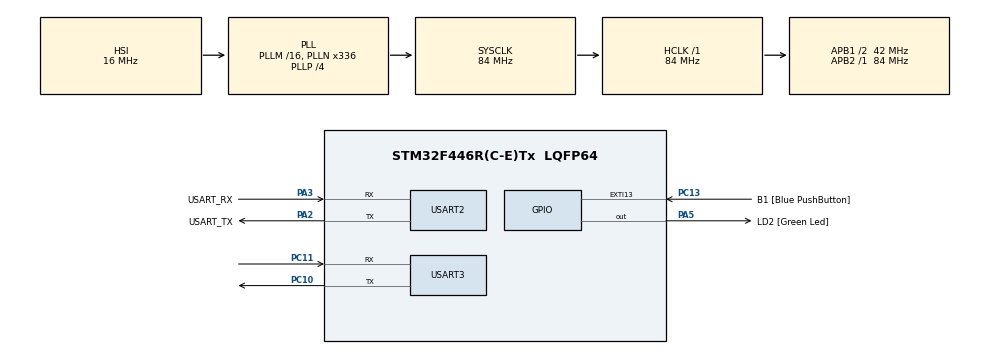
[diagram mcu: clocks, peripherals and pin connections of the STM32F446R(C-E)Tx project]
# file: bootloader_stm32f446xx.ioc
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Mcu.Family=STM32F4
Mcu.Name=STM32F446R(C-E)Tx
Mcu.Package=LQFP64
NVIC.PriorityGroup=NVIC_PRIORITYGROUP_0
PA13.GPIO_Label=TMS
PA13.Signal=SYS_JTMS-SWDIO
PA14.GPIO_Label=TCK
PA14.Signal=SYS_JTCK-SWCLK
PA2.GPIO_Label=USART_TX
PA2.Mode=Asynchronous
PA2.Signal=USART2_TX
PA3.GPIO_Label=USART_RX
PA3.Mode=Asynchronous
PA3.Signal=USART2_RX
PA5.GPIO_Label=LD2 [Green Led]
PA5.Signal=GPIO_Output
PB3.GPIO_Label=SWO
PB3.Signal=SYS_JTDO-SWO
PC10.Mode=Asynchronous
PC10.Signal=USART3_TX
PC11.Mode=Asynchronous
PC11.Signal=USART3_RX
PC13.GPIO_Label=B1 [Blue PushButton]
PC13.GPIO_ModeDefaultEXTI=GPIO_MODE_IT_FALLING
PC13.Signal=GPXTI13
PC14-OSC32_IN.Signal=RCC_OSC32_IN
PC15-OSC32_OUT.Signal=RCC_OSC32_OUT
PH0-OSC_IN.Signal=RCC_OSC_IN
PH1-OSC_OUT.Signal=RCC_OSC_OUT
ProjectManager.HeapSize=0x200
ProjectManager.StackSize=0x400
ProjectManager.TargetToolchain=STM32CubeIDE
RCC.AHBFreq_Value=84000000
RCC.APB1CLKDivider=RCC_HCLK_DIV2
RCC.APB1Freq_Value=42000000
RCC.APB1TimFreq_Value=84000000
RCC.APB2Freq_Value=84000000
RCC.APB2TimFreq_Value=84000000
RCC.CortexFreq_Value=84000000
RCC.FLatency-AdvancedSettings=FLASH_LATENCY_2
RCC.HCLKFreq_Value=84000000
RCC.HSE_VALUE=8000000
RCC.HSI_VALUE=16000000
RCC.LSE_VALUE=32768
RCC.PLLN=336
RCC.PLLP=RCC_PLLP_DIV4
RCC.SYSCLKFreq_VALUE=84000000
RCC.SYSCLKSource=RCC_SYSCLKSOURCE_PLLCLK
RCC.USBFreq_Value=168000000
RCC.VCOOutputFreq_Value=336000000
USART2.VirtualMode=VM_ASYNC
USART3.VirtualMode=VM_ASYNC
VP_CRC_VS_CRC.Mode=CRC_Activate
board=NUCLEO-F446RE

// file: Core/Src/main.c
/* USER CODE BEGIN Header */
/**
  ******************************************************************************
  * @file           : main.c
  * @brief          : Main program body
  ******************************************************************************
  * @attention
  *
  * Copyright (c) 2024 STMicroelectronics.
  * All rights reserved.
  *
  * This software is licensed under terms that can be found in the LICENSE file
  * in the root directory of this software component.
  * If no LICENSE file comes with this software, it is provided AS-IS.
  *
  ******************************************************************************
  */
/* USER CODE END Header */
#include "main.h"

/* USER CODE BEGIN Includes */
#include <stdarg.h>
#include <string.h>
#include <stdio.h>
/* USER CODE END Includes */

/* USER CODE BEGIN PD */
#define D_UART     &huart3
#define C_UART     &huart2
#define BL_RX_LEN  200
/* USER CODE END PD */

/* USER CODE BEGIN PM */

// enable it to get debug messages over debug uart
#define BL_DEBUG_MSG_EN

/* USER CODE END PM */

CRC_HandleTypeDef hcrc;

UART_HandleTypeDef huart2;
UART_HandleTypeDef huart3;

/* USER CODE BEGIN PV */

char somedata[] = "Hello from Bootloader\r\n";
uint8_t bl_rx_buffer[BL_RX_LEN];

uint8_t supported_commands[] = {BL_GET_VER,
	                            BL_GET_HELP,
								BL_GET_CID,
								BL_GET_RDP_STATUS,
								BL_GO_TO_ADDR,
								BL_FLASH_ERASE,
								BL_MEM_WRITE,
								BL_EN_RW_PROTECT,
								BL_MEM_READ,
								BL_READ_SECTOR_P_STATUS,
                                BL_OTP_READ};

/* USER CODE END PV */

void SystemClock_Config(void);
static void MX_GPIO_Init(void);
static void MX_CRC_Init(void);
static void MX_USART2_UART_Init(void);
static void MX_USART3_UART_Init(void);
/* USER CODE BEGIN PFP */

static void printmsg(char* format, ...);

/* USER CODE END PFP */

int main(void)
{

  /* MCU Configuration--------------------------------------------------------*/

  /* Reset of all peripherals, Initializes the Flash interface and the Systick. */
  HAL_Init();

  /* Configure the system clock */
  SystemClock_Config();

  /* Initialize all configured peripherals */
  MX_GPIO_Init();
  MX_CRC_Init();
  MX_USART2_UART_Init();
  MX_USART3_UART_Init();
  /* USER CODE BEGIN 2 */

	if (HAL_GPIO_ReadPin(B1_GPIO_Port, B1_Pin) == GPIO_PIN_RESET)
	{
	  printmsg("BL_DEBUG_MSG:Button is pressed.. going to BL mode\n\r");

	  // continue in bootloader mode
	  bootloader_uart_read_data();
	}
	else
	{
	  printmsg("BL_DEBUG_MSG: Button is not pressed.. executing User application \n\r");
	  bootloader_jump_to_user_app();
	}

  /* USER CODE END 2 */

  /* Infinite loop */
  /* USER CODE BEGIN WHILE */
//  while (1)
//  {
    /* USER CODE END WHILE */

//	HAL_UART_Transmit(&huart2, (uint8_t*)somedata, sizeof(somedata), HAL_MAX_DELAY);
//	HAL_UART_Transmit(&huart3, (uint8_t*)somedata, sizeof(somedata), HAL_MAX_DELAY);

//	uint32_t current_tick = HAL_GetTick();
//	printmsg("current_tick = %d\r\n", current_tick);
//	while (HAL_GetTick() <= (current_tick+500));

    /* USER CODE BEGIN 3 */
//  }
  /* USER CODE END 3 */
}

void SystemClock_Config(void)
{
  RCC_OscInitTypeDef RCC_OscInitStruct = {0};
  RCC_ClkInitTypeDef RCC_ClkInitStruct = {0};

  /** Configure the main internal regulator output voltage
  */
  __HAL_RCC_PWR_CLK_ENABLE();
  __HAL_PWR_VOLTAGESCALING_CONFIG(PWR_REGULATOR_VOLTAGE_SCALE3);

  /** Initializes the RCC Oscillators according to the specified parameters
  * in the RCC_OscInitTypeDef structure.
  */
  RCC_OscInitStruct.OscillatorType = RCC_OSCILLATORTYPE_HSI;
  RCC_OscInitStruct.HSIState = RCC_HSI_ON;
  RCC_OscInitStruct.HSICalibrationValue = RCC_HSICALIBRATION_DEFAULT;
  RCC_OscInitStruct.PLL.PLLState = RCC_PLL_ON;
  RCC_OscInitStruct.PLL.PLLSource = RCC_PLLSOURCE_HSI;
  RCC_OscInitStruct.PLL.PLLM = 16;
  RCC_OscInitStruct.PLL.PLLN = 336;
  RCC_OscInitStruct.PLL.PLLP = RCC_PLLP_DIV4;
  RCC_OscInitStruct.PLL.PLLQ = 2;
  RCC_OscInitStruct.PLL.PLLR = 2;
  if (HAL_RCC_OscConfig(&RCC_OscInitStruct) != HAL_OK)
  {
    Error_Handler();
  }

  /** Initializes the CPU, AHB and APB buses clocks
  */
  RCC_ClkInitStruct.ClockType = RCC_CLOCKTYPE_HCLK|RCC_CLOCKTYPE_SYSCLK
                              |RCC_CLOCKTYPE_PCLK1|RCC_CLOCKTYPE_PCLK2;
  RCC_ClkInitStruct.SYSCLKSource = RCC_SYSCLKSOURCE_PLLCLK;
  RCC_ClkInitStruct.AHBCLKDivider = RCC_SYSCLK_DIV1;
  RCC_ClkInitStruct.APB1CLKDivider = RCC_HCLK_DIV2;
  RCC_ClkInitStruct.APB2CLKDivider = RCC_HCLK_DIV1;

  if (HAL_RCC_ClockConfig(&RCC_ClkInitStruct, FLASH_LATENCY_2) != HAL_OK)
  {
    Error_Handler();
  }
}

static void MX_CRC_Init(void)
{

  hcrc.Instance = CRC;

  /*****************************************************/
  /* [!NOTE] *******************************************/
  /*****************************************************/
  /* crc module of F0 supports multiple data format */
  /* while F4 which is used in this course has only one */
  /* input data format (32bit). Uncomment following settings */
  /* For STM32F0                                               */

//  hcrc.Init.DefaultPolynomialUse = DEFAULT_POLYNOMIAL_ENABLE;
//  hcrc.Init.DefaultInitValueUse = DEFAULT_INIT_VALUE_ENABLE;
//  hcrc.Init.InputDataInversionMode = CRC_INPUTDATA_INVERSION_NONE;
//  hcrc.Init.OutputDataInversionMode = CRC_OUTPUTDATA_INVERSION_DISABLE;
//  hcrc.InputDataFormat = CRC_INPUTDATA_FORMAT_WORDS;

  if (HAL_CRC_Init(&hcrc) != HAL_OK)
  {
    Error_Handler();
  }

}

static void MX_USART2_UART_Init(void)
{

  huart2.Instance = USART2;
  huart2.Init.BaudRate = 115200;
  huart2.Init.WordLength = UART_WORDLENGTH_8B;
  huart2.Init.StopBits = UART_STOPBITS_1;
  huart2.Init.Parity = UART_PARITY_NONE;
  huart2.Init.Mode = UART_MODE_TX_RX;
  huart2.Init.HwFlowCtl = UART_HWCONTROL_NONE;
  huart2.Init.OverSampling = UART_OVERSAMPLING_16;
  if (HAL_UART_Init(&huart2) != HAL_OK)
  {
    Error_Handler();
  }

}

static void MX_USART3_UART_Init(void)
{

  huart3.Instance = USART3;
  huart3.Init.BaudRate = 115200;
  huart3.Init.WordLength = UART_WORDLENGTH_8B;
  huart3.Init.StopBits = UART_STOPBITS_1;
  huart3.Init.Parity = UART_PARITY_NONE;
  huart3.Init.Mode = UART_MODE_TX_RX;
  huart3.Init.HwFlowCtl = UART_HWCONTROL_NONE;
  huart3.Init.OverSampling = UART_OVERSAMPLING_16;
  if (HAL_UART_Init(&huart3) != HAL_OK)
  {
    Error_Handler();
  }

}

static void MX_GPIO_Init(void)
{
  GPIO_InitTypeDef GPIO_InitStruct = {0};

  /* GPIO Ports Clock Enable */
  __HAL_RCC_GPIOC_CLK_ENABLE();
  __HAL_RCC_GPIOH_CLK_ENABLE();
  __HAL_RCC_GPIOA_CLK_ENABLE();
  __HAL_RCC_GPIOB_CLK_ENABLE();

  /*Configure GPIO pin Output Level */
  HAL_GPIO_WritePin(LD2_GPIO_Port, LD2_Pin, GPIO_PIN_RESET);

  /*Configure GPIO pin : B1_Pin */
  GPIO_InitStruct.Pin = B1_Pin;
  GPIO_InitStruct.Mode = GPIO_MODE_IT_FALLING;
  GPIO_InitStruct.Pull = GPIO_NOPULL;
  HAL_GPIO_Init(B1_GPIO_Port, &GPIO_InitStruct);

  /*Configure GPIO pin : LD2_Pin */
  GPIO_InitStruct.Pin = LD2_Pin;
  GPIO_InitStruct.Mode = GPIO_MODE_OUTPUT_PP;
  GPIO_InitStruct.Pull = GPIO_NOPULL;
  GPIO_InitStruct.Speed = GPIO_SPEED_FREQ_LOW;
  HAL_GPIO_Init(LD2_GPIO_Port, &GPIO_InitStruct);

}

/* USER CODE BEGIN 4 */

void bootloader_uart_read_data(void)
{
  uint8_t rcv_len = 0;

  while (1)
  {
	memset(bl_rx_buffer, 0, 200);

	// here we will read and decode the commands coming from Host
	//
	// first read only one byte from the host, which is the "length"
	// field of the command packet
	HAL_UART_Receive(C_UART, bl_rx_buffer, 1, HAL_MAX_DELAY);
	rcv_len = bl_rx_buffer[0];
	HAL_UART_Receive(C_UART, &bl_rx_buffer[1], rcv_len, HAL_MAX_DELAY);

	switch (bl_rx_buffer[1])
	{
	case BL_GET_VER:
	  bootloader_handle_getver_cmd(bl_rx_buffer);
	  break;
	case BL_GET_HELP:
	  bootloader_handle_gethelp_cmd(bl_rx_buffer);
	  break;
	case BL_GET_CID:
	  bootloader_handle_getcid_cmd(bl_rx_buffer);
	  break;
	case BL_GET_RDP_STATUS:
	  bootloader_handle_getrdp_cmd(bl_rx_buffer);
	  break;
	case BL_GO_TO_ADDR:
	  bootloader_handle_gotoaddr_cmd(bl_rx_buffer);
	  break;
	case BL_FLASH_ERASE:
	  bootloader_handle_flash_erase_cmd(bl_rx_buffer);
	  break;
	case BL_MEM_WRITE:
	  bootloader_handle_memwrite_cmd(bl_rx_buffer);
	  break;
	case BL_EN_RW_PROTECT:
	  bootloader_handle_endis_rw_protect(bl_rx_buffer);
	  break;
	case BL_MEM_READ:
	  bootloader_handle_mem_read(bl_rx_buffer);
	  break;
	case BL_READ_SECTOR_P_STATUS:
	  bootloader_handle_read_sector_status(bl_rx_buffer);
	  break;
	case BL_OTP_READ:
	  bootloader_handle_read_otp(bl_rx_buffer);
	  break;
	default:
	  printmsg("BL_DEBUG_MSG: Invalid command code received from host\n");
	  break;
	}
  }
}

/**
 * Jump to User application, Here we are assuming
 * FLASH_SECTOR2_BASE_ADDRESS is where the User
 * application stored.
 */
void bootloader_jump_to_user_app(void)
{
  // function pointer to hold the address of Reset Handler of User app.
  void (*app_reset_handler)(void);

  printmsg("BL_DEBUG_MSG: bootloader_jump_to_user_app\n");

  //1. configure the MSP by reading the value from the base address of Sector 2
  //
  //   In normal working, After MCU RESET, PC is loaded with 0x0000_0000 and ARM
  //   Cortex Mx processor take the value from 0x0000_0000 and put it into MSP
  //   0x0000_0000 is also aliased to 0x0800_0000 (And this contain vector table)
  uint32_t msp_value = *(volatile uint32_t*)FLASH_SECTOR2_BASE_ADDRESS;
  printmsg("BL_DEBUG_MSG: MSP value: %#x\n", msp_value);

  // CMSIS function
  __set_MSP(msp_value);

//  SCB->VTOR = FLASH_SECTOR1_BASE_ADDRESS;

  //2. Now fetch the reset handler address of the User application
  //   from the location FLASH_SECTOR2_BASE_ADDRESS+4
  //
  //   In normal working, address 0x0000_0000 in PC contain `value` which is stuffed into
  //   MSP by the processor and then instruction 0x0000_0000+4 loaded into PC and its `value`
  //   contain Reset Handler (i.e. address of Reset Handler)
  uint32_t resethandler_address = *(volatile uint32_t*)(FLASH_SECTOR2_BASE_ADDRESS + 4);
  app_reset_handler = (void*)resethandler_address;

  printmsg("BL_DEBUG_MSG: app reset handler address: %#x\n", app_reset_handler);

  //3. jump to reset handler of the user application
  app_reset_handler();
}

// prints formatted string to console over UART
void printmsg(char* format, ...)
{
#ifdef BL_DEBUG_MSG_EN

  char str[80];

  // extract the argument list using VA apis
  va_list args;
  va_start(args, format);
  vsprintf(str, format, args);
  HAL_UART_Transmit(D_UART, (uint8_t*)str, strlen(str), HAL_MAX_DELAY);
  va_end(args);

#endif
}

void bootloader_handle_getver_cmd(uint8_t* bl_rx_buffer)
{
  uint8_t bl_version;

  //1. verify the checksum
  printmsg("BL_DEBUG_MSG: bootloader_handle_getver_cmd\n");

  // total length of the command packet
  uint32_t command_packet_len = bl_rx_buffer[0]+1;

  // extract the CRC32 send by the Host
  uint32_t host_crc = *((uint32_t*)(bl_rx_buffer + command_packet_len-4));

  if (!bootloader_verify_crc(&bl_rx_buffer[0], command_packet_len-4, host_crc))
  {
	printmsg("BL_DEBUG_MSG: checksum success !!\n");

	// checksum is correct (send ACK)
	bootloader_send_ack(bl_rx_buffer[0], 1);
	bl_version = get_bootloader_version();
	printmsg("BL_DEBUG_MSG: BL_VER: %d %x#x\n", bl_version, bl_version);
	bootloader_uart_write_data(&bl_version, 1);
  }
  else
  {
	printmsg("BL_DEBUG_MSG: checksum fail !!\n");
	// checksum is wrong (send NACK)
	bootloader_send_nack();
  }
}

void bootloader_handle_gethelp_cmd(uint8_t* bl_rx_buffer)
{
  printmsg("BL_DEBUG_MSG: bootloader_handle_gethelp_cmd\n");

  // total length of the command packet
  uint32_t command_packet_len = bl_rx_buffer[0]+1;

  // extract the CRC32 sent by the Host
  uint32_t host_crc = *((uint32_t*)(bl_rx_buffer+command_packet_len - 4));

  if (!bootloader_verify_crc(&bl_rx_buffer[0], command_packet_len-4, host_crc))
  {
	printmsg("BL_DEBUG_MSG:checksum success !!\n");
	bootloader_send_ack(bl_rx_buffer[0], sizeof(supported_commands));
	bootloader_uart_write_data(supported_commands, sizeof(supported_commands));
  }
  else
  {
	printmsg("BL_DEBUG_MSG:checksum fail!!\n");
	bootloader_send_nack();
  }

}

void bootloader_handle_getcid_cmd(uint8_t* bl_rx_buffer)
{
  uint16_t bl_cid_num = 0;
  printmsg("BL_DEBUG_MSG: bootloader_handle_getcid_cmd\n");

  // total length of the command packet
  uint32_t command_packet_len = bl_rx_buffer[0] + 1;

  // extract the CRC32 sent by Host
  uint32_t host_crc = *((uint32_t*)(bl_rx_buffer + command_packet_len - 4));

  if (!bootloader_verify_crc(&bl_rx_buffer[0], command_packet_len - 4, host_crc))
  {
	printmsg("BL_DEBUG_MSG: checksum success!!\n");
	bootloader_send_ack(bl_rx_buffer[0], 2);
	bl_cid_num = get_mcu_chip_id();
	printmsg("BL_DEBUG_MSG: MCU id: %d %#x !!\n", bl_cid_num, bl_cid_num);
	bootloader_uart_write_data((uint8_t*)&bl_cid_num, 2);
  }
  else
  {
	printmsg("BL_DEBUG_MSG: checksum fail!!\n");
	bootloader_send_nack();
  }

}

void bootloader_handle_getrdp_cmd(uint8_t* bl_rx_buffer)
{
  uint8_t rdp_level = 0x00;
  printmsg("BL_DEBUG_MSG: bootloader_handle_getrdp_cmd\n");

  // total length of the command packet
  uint32_t command_packet_len = bl_rx_buffer[0] + 1;

  // extract the CRC32 sent by the Host
  uint32_t host_crc = *((uint32_t*)(bl_rx_buffer + command_packet_len - 4));

  if (!bootloader_verify_crc(&bl_rx_buffer[0], command_packet_len - 4, host_crc))
  {
	printmsg("BL_DEBUG_MSG: checksum success!!\n");
	bootloader_send_ack(bl_rx_buffer[0], 1);
	rdp_level = get_flash_rdp_level();
	printmsg("BL_DEBUG_MSG: MCU id: %d %#x !!\n", rdp_level, rdp_level);
	bootloader_uart_write_data(&rdp_level, 1);
  }
  else
  {
	printmsg("BL_DEBUG_MSG: checksum fail!!\n");
	bootloader_send_nack();
  }
}

void bootloader_handle_gotoaddr_cmd(uint8_t* bl_rx_buffer)
{

}

void bootloader_handle_flash_erase_cmd(uint8_t* bl_rx_buffer)
{

}

void bootloader_handle_memwrite_cmd(uint8_t* bl_rx_buffer)
{

}

void bootloader_handle_endis_rw_protect(uint8_t* bl_rx_buffer)
{

}

void bootloader_handle_mem_read(uint8_t* bl_rx_buffer)
{

}

void bootloader_handle_read_sector_status(uint8_t* bl_rx_buffer)
{

}

void bootloader_handle_read_otp(uint8_t* bl_rx_buffer)
{

}

void bootloader_send_ack(uint8_t command_code, uint8_t follow_len)
{
  // send 2 byte: first is `ack` and the second is `len` value
  uint8_t ack_buf[2];
  ack_buf[0] = BL_ACK;
  ack_buf[1] = follow_len;
  HAL_UART_Transmit(C_UART, ack_buf, 2, HAL_MAX_DELAY);
}

void bootloader_send_nack(void)
{
  uint8_t nack = BL_NACK;
  HAL_UART_Transmit(C_UART, &nack, 1, HAL_MAX_DELAY);
}

uint8_t bootloader_verify_crc(uint8_t* pdata, uint32_t len, uint32_t crc_host)
{
  uint32_t uwCRCValue = 0xff;

  for (uint32_t i=0; i<len; i++)
  {
	uint32_t i_data = pdata[i];
	uwCRCValue = HAL_CRC_Accumulate(&hcrc, &i_data, 1);
  }

  hcrc.Instance->CR |= CRC_CR_RESET;

  if (uwCRCValue == crc_host)
  {
	return VERIFY_CRC_SUCCESS;
  }
  return VERIFY_CRC_FAIL;

}

void bootloader_uart_write_data(uint8_t* buffer, uint32_t len)
{
  HAL_UART_Transmit(C_UART, buffer, len, HAL_MAX_DELAY);
}

uint8_t get_bootloader_version(void)
{
  return (uint8_t)BL_VERSION;
}

uint16_t get_mcu_chip_id(void)
{
  // The STM32F446xx MCUs intergrate an MCU ID code. This ID identifies the ST MCU part number
  // and the die revision. It is part of the DBG_MCU component and is mapped on the
  // external PPB bus (see Section 33.16 on page 1304). This code is accessed using the
  // JTAG debug pCat.2ort (4 to 5 pins) or the SW debug port (two pins) or by the user software
  // It is even accessible while the MCU is under system reset.
  uint16_t cid;
  cid = (uint16_t)(DBGMCU->IDCODE) & 0x0FFF;
  return cid;
}

uint8_t get_flash_rdp_level(void)
{
  uint8_t rdp_status =0;

#if 0
  FLASH_OBProgramInitTypeDef ob_handle;
  HAL_FLASHEx_OBGetConfig(&ob_handle);
  rdp_status = (uint8_t)ob_handle.RDPLevel;
#else
  volatile uint32_t *pOB_addr = (uint32_t*) 0x1FFFC000; // extract bit 15-8
  rdp_status = (uint8_t)(*pOB_addr >> 8);
#endif

  return rdp_status;
}

/* USER CODE END 4 */

void Error_Handler(void)
{
  __disable_irq();
  while (1)
  {
  }
}
